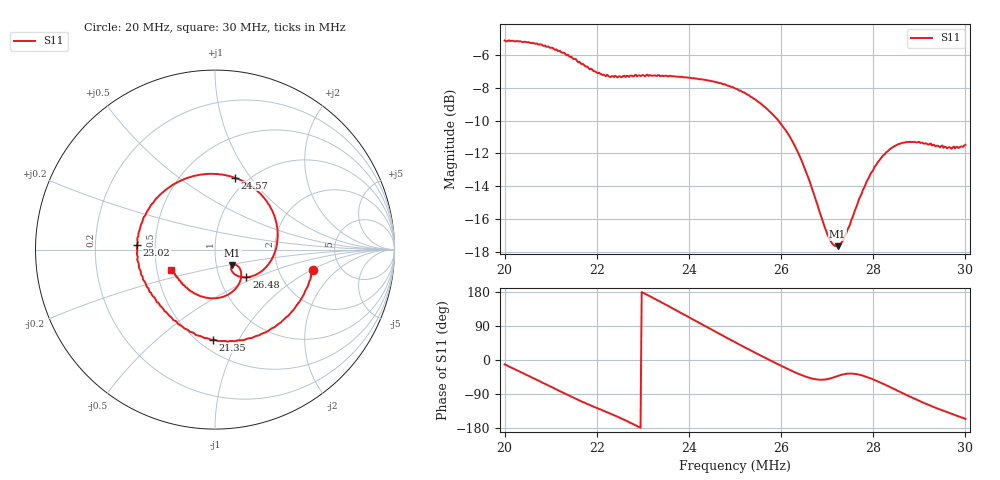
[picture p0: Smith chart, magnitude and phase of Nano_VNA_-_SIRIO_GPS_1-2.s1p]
!File created by NanoVNA
# Hz S RI R 50
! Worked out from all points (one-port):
!   401 points, 20 MHz to 30 MHz, reference 50 ohm
!   lowest |S11| = -17.7 dB at 27.23 MHz (marker M1), VSWR 1.30, Z = 59.6 - j10.7 ohm
!   |S11| at or under -10 dB: 25.94 MHz to end of sweep
!   S11 on the Smith chart (normalised r, x): 20 MHz: 3.14, -1.02; 21.35 MHz: 0.59, -0.79; 23.02 MHz: 0.39, +0.03; 24.57 MHz: 0.87, +0.84; 26.48 MHz: 1.34, -0.44; 30 MHz: 0.60, -0.14
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2e7  0.545 -0.1124
2.0325e7  0.4763 -0.2819
2.07e7  0.3326 -0.4319
2.1e7  0.1771 -0.4977
2.125e7  0.0427 -0.5089
2.135e7  -0.00947 -0.5011
2.1825e7  -0.2108 -0.4062
2.25e7  -0.3829 -0.2007
2.3025e7  -0.4339 0.0277
2.3375e7  -0.3894 0.1894
2.375e7  -0.2732 0.334
2.415e7  -0.0945 0.415
2.4575e7  0.1089 0.4006
2.5e7  0.2708 0.2904
2.5275e7  0.3312 0.1863
2.5575e7  0.3489 0.0658
2.59e7  0.3174 -0.0513
2.625e7  0.237 -0.1353
2.6475e7  0.1753 -0.154
2.7e7  0.0905 -0.1105
2.7225e7  0.0966 -0.0882
2.75e7  0.124 -0.0894
2.7825e7  0.1462 -0.1374
2.8075e7  0.1333 -0.1911
2.8425e7  0.0676 -0.2535
2.875e7  -0.0173 -0.272
2.9325e7  -0.1511 -0.2193
3e7  -0.2429 -0.1109
